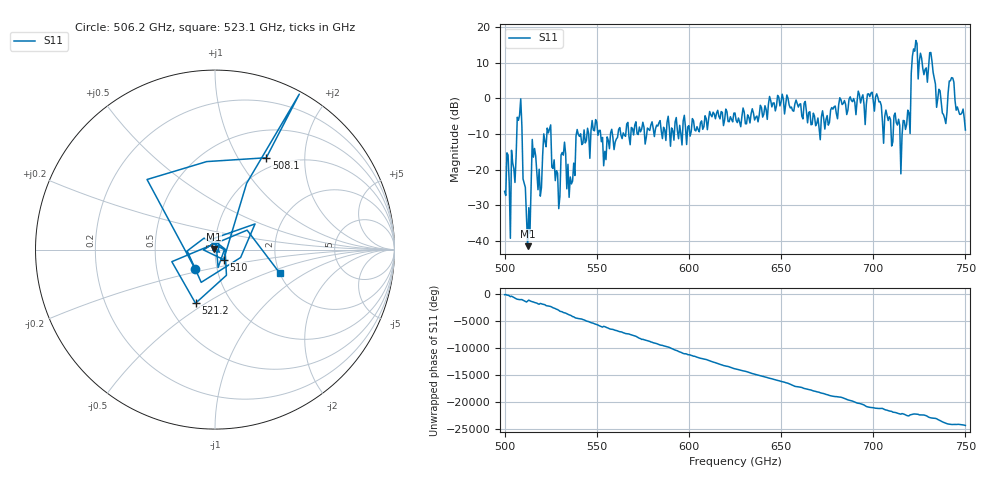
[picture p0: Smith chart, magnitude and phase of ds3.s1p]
# GHz S RI R 50
!freq	ReS11	ImS11
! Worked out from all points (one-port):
!   401 points, 500 GHz to 750 GHz, reference 50 ohm
!   lowest |S11| = -41.5 dB at 512.5 GHz (marker M1), VSWR 1.02, Z = 49.2 + j0.343 ohm
!   |S11| at or under -10 dB: start of sweep to 506.6 GHz; 509.5 GHz to 521.2 GHz (11.78 GHz wide, 2.29 % of centre); 525.1 GHz to 538.9 GHz (13.79 GHz wide, 2.59 % of centre) (the widest 3 of 30)
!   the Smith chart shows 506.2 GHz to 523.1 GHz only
!   S11 on the Smith chart (normalised r, x): 506.2 GHz: 0.79, -0.18; 508.1 GHz: 0.85, +1.33; 510 GHz: 1.09, -0.12; 521.2 GHz: 0.68, -0.45; 523.1 GHz: 2.00, -0.61
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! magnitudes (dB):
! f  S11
! 500 GHz  -26.1
! 504.4 GHz  -18.1
! 506.2 GHz  -16.2
! 508.1 GHz  -4.6
! 510 GHz  -22.6
! 512.5 GHz  -41.5
! 515.6 GHz  -16.5
! 518.8 GHz  -19.9
! 521.2 GHz  -10.0
! 523.1 GHz  -8.3
! 528.8 GHz  -21.0
! 531.2 GHz  -15.2
! 535 GHz  -27.8
! 540 GHz  -10.1
! 548.8 GHz  -9.1
! 553.8 GHz  -18.9
! 562.5 GHz  -8.2
! 593.8 GHz  -9.1
! 625 GHz  -4.1
! 656.2 GHz  -3.4
! 670 GHz  -5.5
! 687.5 GHz  0.5
! 718.8 GHz  -3.3
! 722.5 GHz  13.3
! 731.9 GHz  10.4
! 738.8 GHz  -5.6
! 742.5 GHz  5.8
! 750 GHz  -8.9
